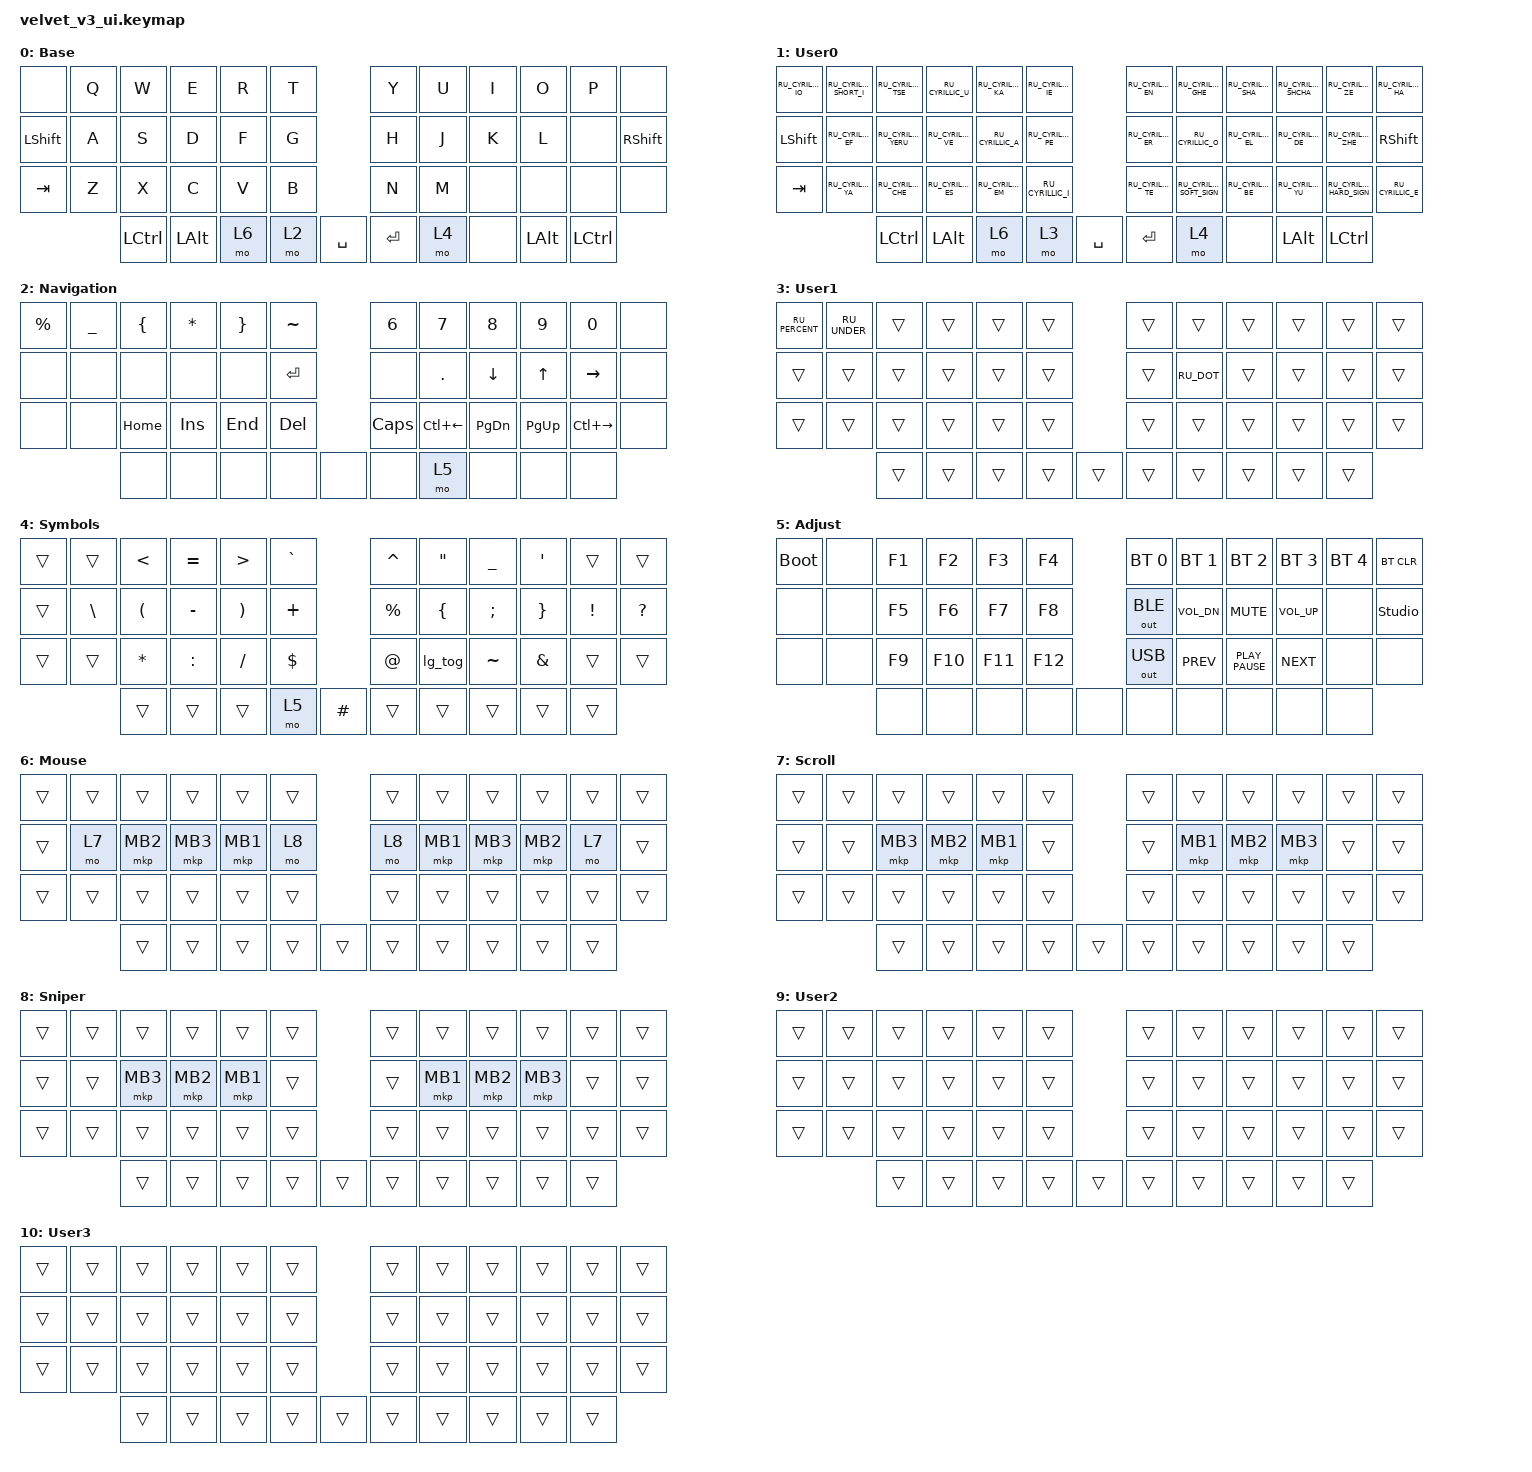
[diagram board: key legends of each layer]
#include "keys_ru.h"
#include <dt-bindings/zmk/input_transform.h>
#include <input/processors.dtsi>
#include <zephyr/dt-bindings/input/input-event-codes.h>
#include <behaviors.dtsi>
#include <dt-bindings/zmk/bt.h>
#include <dt-bindings/zmk/keys.h>
#include <dt-bindings/zmk/outputs.h>
#include <dt-bindings/zmk/pointing.h>

/ {
    behaviors {
        cap_sen: cap_sen {
            compatible = "zmk,behavior-hold-tap";
            label = "CAP_SEN";
            bindings = <&mo>, <&mkp>;

            #binding-cells = <2>;
            tapping-term-ms = <150>;
            hold-while-undecided;
        };

        mouse_layer: mouse_layer {
            compatible = "zmk,behavior-sticky-key";
            label = "MOUSE_LAYER";
            bindings = <&mo>;
            #binding-cells = <1>;
            release-after-ms = <200>;
        };

        zip_auto_mouse: zip_auto_mouse {
            compatible = "zmk,input-processor-temp-layer";
            #input-processor-cells = <2>;
            require-prior-idle-ms = <800>;
            excluded-positions = <>;
        };
    };

    macros {
        lg_tog: lg_tog {
            compatible = "zmk,behavior-macro";
            #binding-cells = <0>;
            bindings = <&kp LG(SPACE) &tog 1>;
            label = "LG_TOG";
        };
    };

    keymap {
        compatible = "zmk,keymap";

        en {
            bindings = <
&none           &kp Q  &kp W             &kp E         &kp R  &kp T                        &kp Y  &kp U  &kp I         &kp O             &kp P  &none
&kp LEFT_SHIFT  &kp A  &kp S             &kp D         &kp F  &kp G                        &kp H  &kp J  &kp K         &kp L             &none  &kp RIGHT_SHIFT
&kp TAB         &kp Z  &kp X             &kp C         &kp V  &kp B                        &kp N  &kp M  &none         &none             &none  &none
                       &kp LEFT_CONTROL  &kp LEFT_ALT  &mo 6  &mo 2  &kp SPACE    &kp RET  &mo 4  &none  &kp LEFT_ALT  &kp LEFT_CONTROL
            >;

            display-name = "Base";
        };

        ru {
            bindings = <
&kp RU_CYRILLIC_IO  &kp RU_CYRILLIC_SHORT_I  &kp RU_CYRILLIC_TSE   &kp RU_CYRILLIC_U   &kp RU_CYRILLIC_KA  &kp RU_CYRILLIC_IE                          &kp RU_CYRILLIC_EN  &kp RU_CYRILLIC_GHE        &kp RU_CYRILLIC_SHA  &kp RU_CYRILLIC_SHCHA  &kp RU_CYRILLIC_ZE         &kp RU_CYRILLIC_HA
&kp LEFT_SHIFT      &kp RU_CYRILLIC_EF       &kp RU_CYRILLIC_YERU  &kp RU_CYRILLIC_VE  &kp RU_CYRILLIC_A   &kp RU_CYRILLIC_PE                          &kp RU_CYRILLIC_ER  &kp RU_CYRILLIC_O          &kp RU_CYRILLIC_EL   &kp RU_CYRILLIC_DE     &kp RU_CYRILLIC_ZHE        &kp RIGHT_SHIFT
&kp TAB             &kp RU_CYRILLIC_YA       &kp RU_CYRILLIC_CHE   &kp RU_CYRILLIC_ES  &kp RU_CYRILLIC_EM  &kp RU_CYRILLIC_I                           &kp RU_CYRILLIC_TE  &kp RU_CYRILLIC_SOFT_SIGN  &kp RU_CYRILLIC_BE   &kp RU_CYRILLIC_YU     &kp RU_CYRILLIC_HARD_SIGN  &kp RU_CYRILLIC_E
                                             &kp LEFT_CONTROL      &kp LEFT_ALT        &mo 6               &mo 3               &kp SPACE    &kp ENTER  &mo 4               &none                      &kp LEFT_ALT         &kp LEFT_CONTROL
            >;

            display-name = "User0";
        };

        sym_en {
            bindings = <
&kp PERCENT  &kp UNDER  &kp LEFT_BRACE  &kp STAR  &kp RIGHT_BRACE  &kp TILDE                  &kp N6    &kp N7        &kp N8         &kp N9       &kp N0         &none
&none        &none      &none           &none     &none            &kp RET                    &none     &kp DOT       &kp DOWN       &kp UP       &kp RIGHT      &none
&none        &none      &kp HOME        &kp INS   &kp END          &kp DEL                    &kp CLCK  &kp LC(LEFT)  &kp PAGE_DOWN  &kp PAGE_UP  &kp LC(RIGHT)  &none
                        &none           &none     &none            &none      &none    &none  &mo 5     &none         &none          &none
            >;

            display-name = "Navigation";
        };

        sym_ru {
            bindings = <
&kp RU_PERCENT  &kp RU_UNDER  &trans  &trans  &trans  &trans                    &trans  &trans      &trans  &trans  &trans  &trans
&trans          &trans        &trans  &trans  &trans  &trans                    &trans  &kp RU_DOT  &trans  &trans  &trans  &trans
&trans          &trans        &trans  &trans  &trans  &trans                    &trans  &trans      &trans  &trans  &trans  &trans
                              &trans  &trans  &trans  &trans  &trans    &trans  &trans  &trans      &trans  &trans
            >;

            display-name = "User1";
        };

        sym {
            bindings = <
&trans  &trans    &kp LT    &kp EQUAL  &kp GT    &kp GRAVE                      &kp CARET  &kp DQT   &kp UNDER  &kp SQT   &trans    &trans
&trans  &kp BSLH  &kp LPAR  &kp MINUS  &kp RPAR  &kp PLUS                       &kp PRCNT  &kp LBRC  &kp SEMI   &kp RBRC  &kp EXCL  &kp QUESTION
&trans  &trans    &kp STAR  &kp COLON  &kp FSLH  &kp DLLR                       &kp AT     &lg_tog   &kp TILDE  &kp AMPS  &trans    &trans
                  &trans    &trans     &trans    &mo 5      &kp HASH    &trans  &trans     &trans    &trans     &trans
            >;

            display-name = "Symbols";
        };

        adj {
            bindings = <
&bootloader  &none  &kp F1  &kp F2   &kp F3   &kp F4                   &bt BT_SEL 0  &bt BT_SEL 1  &bt BT_SEL 2      &bt BT_SEL 3  &bt BT_SEL 4  &bt BT_CLR
&none        &none  &kp F5  &kp F6   &kp F7   &kp F8                   &out OUT_BLE  &kp C_VOL_DN  &kp K_MUTE        &kp C_VOL_UP  &none         &studio_unlock
&none        &none  &kp F9  &kp F10  &kp F11  &kp F12                  &out OUT_USB  &kp K_PREV    &kp K_PLAY_PAUSE  &kp K_NEXT    &none         &none
                    &none   &none    &none    &none    &none    &none  &none         &none         &none             &none
            >;

            display-name = "Adjust";
        };

        mouse {
            bindings = <
&trans  &trans  &trans    &trans    &trans    &trans                    &trans  &trans    &trans    &trans    &trans  &trans
&trans  &mo 7   &mkp MB2  &mkp MB3  &mkp MB1  &mo 8                     &mo 8   &mkp MB1  &mkp MB3  &mkp MB2  &mo 7   &trans
&trans  &trans  &trans    &trans    &trans    &trans                    &trans  &trans    &trans    &trans    &trans  &trans
                &trans    &trans    &trans    &trans  &trans    &trans  &trans  &trans    &trans    &trans
            >;

            display-name = "Mouse";
        };

        scroll {
            bindings = <
&trans  &trans  &trans    &trans    &trans    &trans                    &trans  &trans    &trans    &trans    &trans  &trans
&trans  &trans  &mkp MB3  &mkp MB2  &mkp MB1  &trans                    &trans  &mkp MB1  &mkp MB2  &mkp MB3  &trans  &trans
&trans  &trans  &trans    &trans    &trans    &trans                    &trans  &trans    &trans    &trans    &trans  &trans
                &trans    &trans    &trans    &trans  &trans    &trans  &trans  &trans    &trans    &trans
            >;

            display-name = "Scroll";
        };

        sniper {
            bindings = <
&trans  &trans  &trans    &trans    &trans    &trans                    &trans  &trans    &trans    &trans    &trans  &trans
&trans  &trans  &mkp MB3  &mkp MB2  &mkp MB1  &trans                    &trans  &mkp MB1  &mkp MB2  &mkp MB3  &trans  &trans
&trans  &trans  &trans    &trans    &trans    &trans                    &trans  &trans    &trans    &trans    &trans  &trans
                &trans    &trans    &trans    &trans  &trans    &trans  &trans  &trans    &trans    &trans
            >;

            display-name = "Sniper";
        };

        User2 {
            bindings = <
&trans  &trans  &trans  &trans  &trans  &trans                    &trans  &trans  &trans  &trans  &trans  &trans
&trans  &trans  &trans  &trans  &trans  &trans                    &trans  &trans  &trans  &trans  &trans  &trans
&trans  &trans  &trans  &trans  &trans  &trans                    &trans  &trans  &trans  &trans  &trans  &trans
                &trans  &trans  &trans  &trans  &trans    &trans  &trans  &trans  &trans  &trans
            >;

            display-name = "User2";
        };

        User3 {
            bindings = <
&trans  &trans  &trans  &trans  &trans  &trans                    &trans  &trans  &trans  &trans  &trans  &trans
&trans  &trans  &trans  &trans  &trans  &trans                    &trans  &trans  &trans  &trans  &trans  &trans
&trans  &trans  &trans  &trans  &trans  &trans                    &trans  &trans  &trans  &trans  &trans  &trans
                &trans  &trans  &trans  &trans  &trans    &trans  &trans  &trans  &trans  &trans
            >;

            display-name = "User3";
        };
    };
};

&trackball { cpi = <1000>; };

&trackball_listener {
    input-processors = <&zip_auto_mouse 4 500>, <&zip_xy_scaler 20 20>;

    scroller {
        layers = <5>;
        input-processors =
            <&zip_xy_transform INPUT_TRANSFORM_Y_INVERT>,
            <&zip_xy_scaler 1 32>,
            <&zip_xy_to_scroll_mapper>;
    };

    sniper {
        layers = <6>;
        input-processors = <&zip_xy_scaler 1 4>;
    };
};
